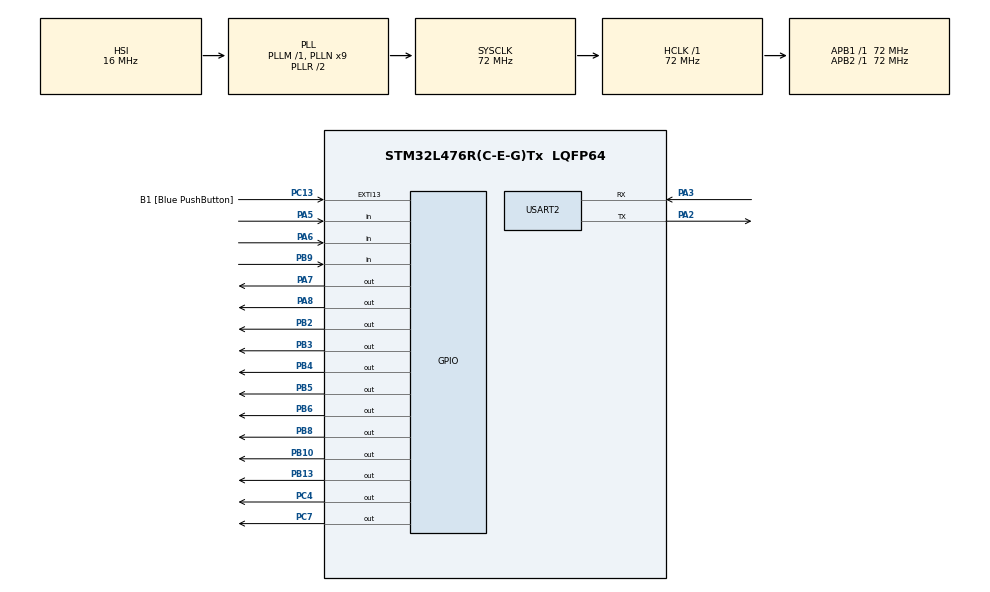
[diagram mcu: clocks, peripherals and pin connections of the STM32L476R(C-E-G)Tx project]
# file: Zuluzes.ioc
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FREERTOS.Tasks01=defaultTask,0,128,StartDefaultTask,Default,NULL,Dynamic,NULL,NULL
FREERTOS.configTOTAL_HEAP_SIZE=16384
FREERTOS.configUSE_NEWLIB_REENTRANT=1
Mcu.Family=STM32L4
Mcu.Name=STM32L476R(C-E-G)Tx
Mcu.Package=LQFP64
NVIC.PriorityGroup=NVIC_PRIORITYGROUP_4
NVIC.TIM1_UP_TIM16_IRQn=true\:15\:0\:false\:false\:true\:false\:false\:true\:true
NVIC.TimeBase=TIM1_UP_TIM16_IRQn
NVIC.TimeBaseIP=TIM1
PA13\ (JTMS-SWDIO).GPIO_Label=TMS
PA13\ (JTMS-SWDIO).Mode=Serial_Wire
PA13\ (JTMS-SWDIO).Signal=SYS_JTMS-SWDIO
PA14\ (JTCK-SWCLK).GPIO_Label=TCK
PA14\ (JTCK-SWCLK).Mode=Serial_Wire
PA14\ (JTCK-SWCLK).Signal=SYS_JTCK-SWCLK
PA2.Mode=Asynchronous
PA2.Signal=USART2_TX
PA3.Mode=Asynchronous
PA3.Signal=USART2_RX
PA5.GPIO_PuPd=GPIO_PULLUP
PA5.Signal=GPIO_Input
PA6.GPIO_PuPd=GPIO_PULLUP
PA6.Signal=GPIO_Input
PA7.Signal=GPIO_Output
PA8.Signal=GPIO_Output
PB10.Signal=GPIO_Output
PB13.Signal=GPIO_Output
PB2.Signal=GPIO_Output
PB3\ (JTDO-TRACESWO).Signal=GPIO_Output
PB4\ (NJTRST).Signal=GPIO_Output
PB5.Signal=GPIO_Output
PB6.Signal=GPIO_Output
PB8.Signal=GPIO_Output
PB9.Signal=GPIO_Input
PC13.GPIO_Label=B1 [Blue PushButton]
PC13.GPIO_ModeDefaultEXTI=GPIO_MODE_IT_FALLING
PC13.GPIO_PuPd=GPIO_NOPULL
PC13.Signal=GPXTI13
PC14-OSC32_IN\ (PC14).Mode=LSE-External-Oscillator
PC14-OSC32_IN\ (PC14).Signal=RCC_OSC32_IN
PC15-OSC32_OUT\ (PC15).Mode=LSE-External-Oscillator
PC15-OSC32_OUT\ (PC15).Signal=RCC_OSC32_OUT
PC4.Signal=GPIO_Output
PC7.Signal=GPIO_Output
PH0-OSC_IN\ (PH0).Signal=RCC_OSC_IN
PH1-OSC_OUT\ (PH1).Signal=RCC_OSC_OUT
ProjectManager.HeapSize=0x200
ProjectManager.StackSize=0x400
ProjectManager.TargetToolchain=STM32CubeIDE
RCC.ADCFreq_Value=64000000
RCC.AHBFreq_Value=72000000
RCC.APB1Freq_Value=72000000
RCC.APB1TimFreq_Value=72000000
RCC.APB2Freq_Value=72000000
RCC.APB2TimFreq_Value=72000000
RCC.CortexFreq_Value=72000000
RCC.HCLKFreq_Value=72000000
RCC.HSE_VALUE=8000000
RCC.HSI_VALUE=16000000
RCC.MSI_VALUE=4000000
RCC.PLLN=9
RCC.PLLSourceVirtual=RCC_PLLSOURCE_HSI
RCC.PREFETCH_ENABLE=1
RCC.SYSCLKFreq_VALUE=72000000
RCC.SYSCLKSource=RCC_SYSCLKSOURCE_PLLCLK
RCC.USBFreq_Value=64000000
RCC.VCOOutputFreq_Value=144000000
TIM2.Prescaler=72-1
USART2.VirtualMode-Asynchronous=VM_ASYNC
VP_FREERTOS_VS_CMSIS_V1.Mode=CMSIS_V1
VP_SYS_VS_tim1.Mode=TIM1
VP_TIM2_VS_ClockSourceINT.Mode=Internal
board=NUCLEO-L476RG

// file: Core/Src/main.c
/* USER CODE BEGIN Header */
/**
  ******************************************************************************
  * @file           : main.c
  * @brief          : Main program body
  ******************************************************************************
  * @attention
  *
  * Copyright (c) 2024 STMicroelectronics.
  * All rights reserved.
  *
  * This software is licensed under terms that can be found in the LICENSE file
  * in the root directory of this software component.
  * If no LICENSE file comes with this software, it is provided AS-IS.
  *
  ******************************************************************************
  */
/* USER CODE END Header */
#include "main.h"
#include "cmsis_os.h"

/* USER CODE BEGIN Includes */
#include <string.h>
#include <stdlib.h>
#include <stdio.h>
/* USER CODE END Includes */

/* USER CODE BEGIN PD */
// D15
#define TRIG_PIN GPIO_PIN_8
#define TRIG_PORT GPIOB

// D14
#define ECHO_PIN GPIO_PIN_9
#define ECHO_PORT GPIOB

// D13
#define BUTTON_1_PIN GPIO_PIN_5
#define BUTTON_1_PORT GPIOA

// D12
#define BUTTON_2_PIN GPIO_PIN_6
#define BUTTON_2_PORT GPIOA

// D11
#define BUZZER_PIN GPIO_PIN_7
#define BUZZER_PORT GPIOA

// 10 SEGMENT DISPLAY
// D10
#define SEGMENT_1_PIN GPIO_PIN_6
#define SEGMENT_1_PORT GPIOB

// D9
#define SEGMENT_2_PIN GPIO_PIN_7
#define SEGMENT_2_PORT GPIOC

// CN10 21
#define SEGMENT_3_PIN GPIO_PIN_2
#define SEGMENT_3_PORT GPIOB

// D7
#define SEGMENT_4_PIN GPIO_PIN_8
#define SEGMENT_4_PORT GPIOA

// D6
#define SEGMENT_5_PIN GPIO_PIN_10
#define SEGMENT_5_PORT GPIOB

// D5
#define SEGMENT_6_PIN GPIO_PIN_4
#define SEGMENT_6_PORT GPIOB

// D4
#define SEGMENT_7_PIN GPIO_PIN_5
#define SEGMENT_7_PORT GPIOB

// D3
#define SEGMENT_8_PIN GPIO_PIN_3
#define SEGMENT_8_PORT GPIOB

// CN10 34
#define SEGMENT_9_PIN GPIO_PIN_13
#define SEGMENT_9_PORT GPIOB

// CN10 30
#define SEGMENT_10_PIN GPIO_PIN_4
#define SEGMENT_10_PORT GPIOC

#define PUSHUP_DOWN_DISTANCE_CM 10
#define PUSHUP_UP_DISTANCE_CM 30
/* USER CODE END PD */

TIM_HandleTypeDef htim2;

UART_HandleTypeDef huart2;

osThreadId defaultTaskHandle;
/* USER CODE BEGIN PV */
TaskHandle_t PushupCounterTaskHandle;
TaskHandle_t AreButtonsPressedTaskHandle;
TaskHandle_t LedCounterTaskHandle;

char buttonBuffer[50];
char ultraBuffer[50];

uint32_t PUSHUP_TARGET= 10;

uint32_t pushupCounter = 0;
uint8_t isButtonsPressed = 0;

GPIO_TypeDef* SEGMENT_PORTS[10] = {
	SEGMENT_1_PORT,
	SEGMENT_2_PORT,
	SEGMENT_3_PORT,
	SEGMENT_4_PORT,
	SEGMENT_5_PORT,
	SEGMENT_6_PORT,
	SEGMENT_7_PORT,
	SEGMENT_8_PORT,
	SEGMENT_9_PORT,
	SEGMENT_10_PORT
};

uint16_t SEGMENT_PINS[10] = {
	SEGMENT_1_PIN,
	SEGMENT_2_PIN,
	SEGMENT_3_PIN,
	SEGMENT_4_PIN,
	SEGMENT_5_PIN,
	SEGMENT_6_PIN,
	SEGMENT_7_PIN,
	SEGMENT_8_PIN,
	SEGMENT_9_PIN,
	SEGMENT_10_PIN
};
/* USER CODE END PV */

void SystemClock_Config(void);
static void MX_GPIO_Init(void);
static void MX_TIM2_Init(void);
static void MX_USART2_UART_Init(void);
void StartDefaultTask(void const * argument);

/* USER CODE BEGIN PFP */
void setPushupTarget(void);
void AreButtonsPressedTask(void *argument);
void PushupCounterTask(void *argument);
void Trigger_Ultrasonic(void);
uint32_t Get_Distance(void);
void handleWin(void);
void playSound(uint32_t frequency, uint32_t duration_ms);
void reset(void);
void LedCounterTask(void *argument);
void CheckForExitTask(void *argument);
/* USER CODE END PFP */

int main(void)
{

  /* MCU Configuration--------------------------------------------------------*/

  /* Reset of all peripherals, Initializes the Flash interface and the Systick. */
  HAL_Init();

  /* Configure the system clock */
  SystemClock_Config();

  /* Initialize all configured peripherals */
  MX_GPIO_Init();
  MX_TIM2_Init();
  MX_USART2_UART_Init();
  /* USER CODE BEGIN 2 */

  setPushupTarget();

  /* USER CODE END 2 */

  /* USER CODE BEGIN RTOS_TIMERS */
  /* start timers, add new ones, ... */
  HAL_TIM_Base_Start(&htim2);
  /* USER CODE END RTOS_TIMERS */

  /* Create the thread(s) */
  /* definition and creation of defaultTask */
  osThreadDef(defaultTask, StartDefaultTask, osPriorityNormal, 0, 128);
  defaultTaskHandle = osThreadCreate(osThread(defaultTask), NULL);

  /* USER CODE BEGIN RTOS_THREADS */
  /* add threads, ... */

  xTaskCreate(
  PushupCounterTask,
  "PushupCounterTask",
  configMINIMAL_STACK_SIZE,
  NULL,
  1,
  &PushupCounterTaskHandle);

  xTaskCreate(AreButtonsPressedTask,
  "AreButtonsPressedTask",
  configMINIMAL_STACK_SIZE,
  NULL,
  tskIDLE_PRIORITY,
  &AreButtonsPressedTaskHandle);

  xTaskCreate(LedCounterTask,
  "LedCounterTask",
  configMINIMAL_STACK_SIZE,
  NULL,
  tskIDLE_PRIORITY,
  &LedCounterTaskHandle);

  xTaskCreate(CheckForExitTask,
  "CheckForExitTask",
  configMINIMAL_STACK_SIZE,
  NULL,
  tskIDLE_PRIORITY,
  NULL);

  /* USER CODE END RTOS_THREADS */

  /* Start scheduler */
  osKernelStart();

  /* We should never get here as control is now taken by the scheduler */

  /* Infinite loop */
  while (1)
  {

  }
}

void SystemClock_Config(void)
{
  RCC_OscInitTypeDef RCC_OscInitStruct = {0};
  RCC_ClkInitTypeDef RCC_ClkInitStruct = {0};

  /** Configure the main internal regulator output voltage
  */
  if (HAL_PWREx_ControlVoltageScaling(PWR_REGULATOR_VOLTAGE_SCALE1) != HAL_OK)
  {
    Error_Handler();
  }

  /** Initializes the RCC Oscillators according to the specified parameters
  * in the RCC_OscInitTypeDef structure.
  */
  RCC_OscInitStruct.OscillatorType = RCC_OSCILLATORTYPE_HSI;
  RCC_OscInitStruct.HSIState = RCC_HSI_ON;
  RCC_OscInitStruct.HSICalibrationValue = RCC_HSICALIBRATION_DEFAULT;
  RCC_OscInitStruct.PLL.PLLState = RCC_PLL_ON;
  RCC_OscInitStruct.PLL.PLLSource = RCC_PLLSOURCE_HSI;
  RCC_OscInitStruct.PLL.PLLM = 1;
  RCC_OscInitStruct.PLL.PLLN = 9;
  RCC_OscInitStruct.PLL.PLLP = RCC_PLLP_DIV7;
  RCC_OscInitStruct.PLL.PLLQ = RCC_PLLQ_DIV2;
  RCC_OscInitStruct.PLL.PLLR = RCC_PLLR_DIV2;
  if (HAL_RCC_OscConfig(&RCC_OscInitStruct) != HAL_OK)
  {
    Error_Handler();
  }

  /** Initializes the CPU, AHB and APB buses clocks
  */
  RCC_ClkInitStruct.ClockType = RCC_CLOCKTYPE_HCLK|RCC_CLOCKTYPE_SYSCLK
                              |RCC_CLOCKTYPE_PCLK1|RCC_CLOCKTYPE_PCLK2;
  RCC_ClkInitStruct.SYSCLKSource = RCC_SYSCLKSOURCE_PLLCLK;
  RCC_ClkInitStruct.AHBCLKDivider = RCC_SYSCLK_DIV1;
  RCC_ClkInitStruct.APB1CLKDivider = RCC_HCLK_DIV1;
  RCC_ClkInitStruct.APB2CLKDivider = RCC_HCLK_DIV1;

  if (HAL_RCC_ClockConfig(&RCC_ClkInitStruct, FLASH_LATENCY_4) != HAL_OK)
  {
    Error_Handler();
  }
}

static void MX_TIM2_Init(void)
{

  TIM_ClockConfigTypeDef sClockSourceConfig = {0};
  TIM_MasterConfigTypeDef sMasterConfig = {0};

  htim2.Instance = TIM2;
  htim2.Init.Prescaler = 72-1;
  htim2.Init.CounterMode = TIM_COUNTERMODE_UP;
  htim2.Init.Period = 4294967295;
  htim2.Init.ClockDivision = TIM_CLOCKDIVISION_DIV1;
  htim2.Init.AutoReloadPreload = TIM_AUTORELOAD_PRELOAD_DISABLE;
  if (HAL_TIM_Base_Init(&htim2) != HAL_OK)
  {
    Error_Handler();
  }
  sClockSourceConfig.ClockSource = TIM_CLOCKSOURCE_INTERNAL;
  if (HAL_TIM_ConfigClockSource(&htim2, &sClockSourceConfig) != HAL_OK)
  {
    Error_Handler();
  }
  sMasterConfig.MasterOutputTrigger = TIM_TRGO_RESET;
  sMasterConfig.MasterSlaveMode = TIM_MASTERSLAVEMODE_DISABLE;
  if (HAL_TIMEx_MasterConfigSynchronization(&htim2, &sMasterConfig) != HAL_OK)
  {
    Error_Handler();
  }

}

static void MX_USART2_UART_Init(void)
{

  huart2.Instance = USART2;
  huart2.Init.BaudRate = 115200;
  huart2.Init.WordLength = UART_WORDLENGTH_8B;
  huart2.Init.StopBits = UART_STOPBITS_1;
  huart2.Init.Parity = UART_PARITY_NONE;
  huart2.Init.Mode = UART_MODE_TX_RX;
  huart2.Init.HwFlowCtl = UART_HWCONTROL_NONE;
  huart2.Init.OverSampling = UART_OVERSAMPLING_16;
  huart2.Init.OneBitSampling = UART_ONE_BIT_SAMPLE_DISABLE;
  huart2.AdvancedInit.AdvFeatureInit = UART_ADVFEATURE_NO_INIT;
  if (HAL_UART_Init(&huart2) != HAL_OK)
  {
    Error_Handler();
  }

}

static void MX_GPIO_Init(void)
{
  GPIO_InitTypeDef GPIO_InitStruct = {0};

  /* GPIO Ports Clock Enable */
  __HAL_RCC_GPIOC_CLK_ENABLE();
  __HAL_RCC_GPIOH_CLK_ENABLE();
  __HAL_RCC_GPIOA_CLK_ENABLE();
  __HAL_RCC_GPIOB_CLK_ENABLE();

  /*Configure GPIO pin Output Level */
  HAL_GPIO_WritePin(GPIOA, GPIO_PIN_7|GPIO_PIN_8, GPIO_PIN_RESET);

  /*Configure GPIO pin Output Level */
  HAL_GPIO_WritePin(GPIOC, GPIO_PIN_4|GPIO_PIN_7, GPIO_PIN_RESET);

  /*Configure GPIO pin Output Level */
  HAL_GPIO_WritePin(GPIOB, GPIO_PIN_2|GPIO_PIN_10|GPIO_PIN_13|GPIO_PIN_3
                          |GPIO_PIN_4|GPIO_PIN_5|GPIO_PIN_6|GPIO_PIN_8, GPIO_PIN_RESET);

  /*Configure GPIO pin : B1_Pin */
  GPIO_InitStruct.Pin = B1_Pin;
  GPIO_InitStruct.Mode = GPIO_MODE_IT_FALLING;
  GPIO_InitStruct.Pull = GPIO_NOPULL;
  HAL_GPIO_Init(B1_GPIO_Port, &GPIO_InitStruct);

  /*Configure GPIO pins : PA5 PA6 */
  GPIO_InitStruct.Pin = GPIO_PIN_5|GPIO_PIN_6;
  GPIO_InitStruct.Mode = GPIO_MODE_INPUT;
  GPIO_InitStruct.Pull = GPIO_PULLUP;
  HAL_GPIO_Init(GPIOA, &GPIO_InitStruct);

  /*Configure GPIO pins : PA7 PA8 */
  GPIO_InitStruct.Pin = GPIO_PIN_7|GPIO_PIN_8;
  GPIO_InitStruct.Mode = GPIO_MODE_OUTPUT_PP;
  GPIO_InitStruct.Pull = GPIO_NOPULL;
  GPIO_InitStruct.Speed = GPIO_SPEED_FREQ_LOW;
  HAL_GPIO_Init(GPIOA, &GPIO_InitStruct);

  /*Configure GPIO pins : PC4 PC7 */
  GPIO_InitStruct.Pin = GPIO_PIN_4|GPIO_PIN_7;
  GPIO_InitStruct.Mode = GPIO_MODE_OUTPUT_PP;
  GPIO_InitStruct.Pull = GPIO_NOPULL;
  GPIO_InitStruct.Speed = GPIO_SPEED_FREQ_LOW;
  HAL_GPIO_Init(GPIOC, &GPIO_InitStruct);

  /*Configure GPIO pins : PB2 PB10 PB13 PB3
                           PB4 PB5 PB6 PB8 */
  GPIO_InitStruct.Pin = GPIO_PIN_2|GPIO_PIN_10|GPIO_PIN_13|GPIO_PIN_3
                          |GPIO_PIN_4|GPIO_PIN_5|GPIO_PIN_6|GPIO_PIN_8;
  GPIO_InitStruct.Mode = GPIO_MODE_OUTPUT_PP;
  GPIO_InitStruct.Pull = GPIO_NOPULL;
  GPIO_InitStruct.Speed = GPIO_SPEED_FREQ_LOW;
  HAL_GPIO_Init(GPIOB, &GPIO_InitStruct);

  /*Configure GPIO pin : PB9 */
  GPIO_InitStruct.Pin = GPIO_PIN_9;
  GPIO_InitStruct.Mode = GPIO_MODE_INPUT;
  GPIO_InitStruct.Pull = GPIO_NOPULL;
  HAL_GPIO_Init(GPIOB, &GPIO_InitStruct);

/* USER CODE BEGIN MX_GPIO_Init_2 */
  /*
   * ON IOC CHANGE, UPDATE THE PA8 AND PA9 PINS TO GPIO_PULLUP
   */
/* USER CODE END MX_GPIO_Init_2 */
}

/* USER CODE BEGIN 4 */

void setPushupTarget(void) {
    char targetBuffer[10] = {0};
    char ch;
    int i = 0;

    HAL_UART_Transmit(&huart2, (uint8_t *)"\033[2J\033[H", 7, HAL_MAX_DELAY);
    HAL_UART_Transmit(&huart2, (uint8_t *)"Enter pushup target: ", 21, HAL_MAX_DELAY);

    while (i < sizeof(targetBuffer) - 1) {
        HAL_UART_Receive(&huart2, (uint8_t *)&ch, 1, HAL_MAX_DELAY);

        if (ch == '\r') {
            break;
        }

        HAL_UART_Transmit(&huart2, (uint8_t *)&ch, 1, HAL_MAX_DELAY);
        targetBuffer[i++] = ch;
    }

    targetBuffer[i] = '\0';
    PUSHUP_TARGET = atoi(targetBuffer);

    sprintf(ultraBuffer, "\r\nTarget Set: %lu\r\n", PUSHUP_TARGET);
    HAL_UART_Transmit(&huart2, (uint8_t*)ultraBuffer, strlen(ultraBuffer), HAL_MAX_DELAY);
}

void AreButtonsPressedTask(void *argument){

	for(;;){
		if(HAL_GPIO_ReadPin(BUTTON_1_PORT, BUTTON_1_PIN) == GPIO_PIN_RESET  && HAL_GPIO_ReadPin(BUTTON_2_PORT, BUTTON_2_PIN) == GPIO_PIN_RESET){
			isButtonsPressed = 1;
		} else {
			isButtonsPressed = 0;
		}
	}
}

void PushupCounterTask(void *argument)
{
	uint8_t downOk = 0;
	for(;;)
    {

        Trigger_Ultrasonic();

        uint32_t distance = Get_Distance();
        if(isButtonsPressed){
        	if(pushupCounter < PUSHUP_TARGET){
        		if(distance <= PUSHUP_DOWN_DISTANCE_CM && !downOk ){
        			downOk = 1;
        		}
        		else if(distance >= PUSHUP_UP_DISTANCE_CM && downOk){
        			pushupCounter++;
        			downOk = 0;
        		}
        	} else {
        		handleWin();
        		osDelay(500);
        		reset();
        	}
        } else {
        	reset();
        }

        sprintf(ultraBuffer, "Counter: %lu Distance: %lu\r\n", pushupCounter, distance);
		HAL_UART_Transmit(&huart2, (uint8_t*)ultraBuffer, strlen(ultraBuffer), HAL_MAX_DELAY);
        osDelay(500);
    }
}

void Trigger_Ultrasonic(void)
{
    HAL_GPIO_WritePin(TRIG_PORT, TRIG_PIN, GPIO_PIN_SET);
    osDelay(1);
    HAL_GPIO_WritePin(TRIG_PORT, TRIG_PIN, GPIO_PIN_RESET);
}

uint32_t Get_Distance(void)
{
	uint32_t echoStart = 0;
	uint32_t echoEnd = 0;
	uint32_t echoDuration = 0;

    while (HAL_GPIO_ReadPin(ECHO_PORT, ECHO_PIN) == GPIO_PIN_RESET);

    echoStart = __HAL_TIM_GET_COUNTER(&htim2);

    while (HAL_GPIO_ReadPin(ECHO_PORT, ECHO_PIN) == GPIO_PIN_SET);

    echoEnd = __HAL_TIM_GET_COUNTER(&htim2);

    echoDuration = echoEnd - echoStart;

    uint32_t distance = (echoDuration * 0.0343) / 2;

    return distance;
}

void reset(void){
	pushupCounter = 0;
	for(int i = 0 ; i < PUSHUP_TARGET ; i ++){
		HAL_GPIO_WritePin(SEGMENT_PORTS[i], SEGMENT_PINS[i], GPIO_PIN_RESET);
	}
}

void handleWin(void){
//	sprintf(ultraBuffer, "WIN WIN WIN\r\n");
//	HAL_UART_Transmit(&huart4, (uint8_t*)ultraBuffer, strlen(ultraBuffer), HAL_MAX_DELAY);

	// caza
	playSound(300, 200);
	osDelay(20);

	playSound(300, 200);
	osDelay(20);

	osDelay(220);

	// caza
	playSound(300, 200);
	osDelay(20);

	playSound(300, 200);
	osDelay(20);

	osDelay(220);

	// caza caza caza
	playSound(300, 200);
	osDelay(20);

	playSound(300, 200);
	osDelay(20);

	playSound(300, 200);
	osDelay(20);

	playSound(300, 200);
	osDelay(20);

	playSound(300, 200);
	osDelay(20);

	playSound(300, 200);
	osDelay(20);

	playSound(300, 200);
	osDelay(20);

	osDelay(220);

	// a turma é mesmo boa
	playSound(300, 200);
	osDelay(20);

	playSound(300, 200);
	osDelay(20);

	playSound(300, 200);
	osDelay(20);

	playSound(300, 200);
	osDelay(20);

	playSound(300, 200);
	osDelay(20);

	playSound(300, 200);
	osDelay(20);

	playSound(300, 200);
	osDelay(20);

	osDelay(220);

	// é mesmo da fuzaca
	playSound(300, 200);
	osDelay(20);

	playSound(300, 200);
	osDelay(20);

	playSound(300, 200);
	osDelay(20);

	playSound(300, 200);
	osDelay(20);

	playSound(300, 200);
	osDelay(20);

	playSound(300, 200);
	osDelay(20);

	playSound(300, 200);
	osDelay(20);

	osDelay(220);

	// sport
	playSound(300, 200);
	osDelay(20);

	playSound(300, 200);
	osDelay(20);

	osDelay(220);

	// sport
	playSound(300, 200);
	osDelay(20);

	playSound(300, 200);
	osDelay(20);

	osDelay(220);

	// sport
	playSound(300, 200);
	osDelay(20);

	playSound(300, 200);
	osDelay(20);
}

void playSound(uint32_t frequency, uint32_t duration_ms){
	uint32_t period_us = 1000000 / frequency;
	uint32_t half_period_us = period_us / 2;

	uint32_t startTick = HAL_GetTick();

	while ((HAL_GetTick() - startTick) < duration_ms)
	{
		HAL_GPIO_WritePin(BUZZER_PORT, BUZZER_PIN, GPIO_PIN_SET);
		osDelay(half_period_us / 1000);

		HAL_GPIO_WritePin(BUZZER_PORT, BUZZER_PIN, GPIO_PIN_RESET);
		osDelay(half_period_us / 1000);
	}
}

void LedCounterTask(void *argument){

	for(;;){
		int32_t TOTAL_LEDS = 10;
		int32_t ledCount = pushupCounter % TOTAL_LEDS;

		for (int i = 0; i < TOTAL_LEDS; i++) {
			HAL_GPIO_WritePin(SEGMENT_PORTS[i], SEGMENT_PINS[i], ledCount > i);
		}

		osDelay(300);
	}
}

void CheckForExitTask(void *argument) {
    char ch;
    for (;;) {
        HAL_UART_Receive(&huart2, (uint8_t *)&ch, 1, HAL_MAX_DELAY);
        if (ch == 'J' || ch == 'j') {
        	vTaskSuspend(PushupCounterTaskHandle);
			vTaskSuspend(AreButtonsPressedTaskHandle);
			vTaskSuspend(LedCounterTaskHandle);

            HAL_UART_Transmit(&huart2, (uint8_t *)"\r\nResetting...\r\n", 17, HAL_MAX_DELAY);
            reset();
            setPushupTarget();

            vTaskResume(PushupCounterTaskHandle);
            vTaskResume(AreButtonsPressedTaskHandle);
            vTaskResume(LedCounterTaskHandle);
        }
        osDelay(100);
    }
}

/* USER CODE END 4 */

void StartDefaultTask(void const * argument)
{
  for(;;)
  {
    osDelay(1);
  }
}

void HAL_TIM_PeriodElapsedCallback(TIM_HandleTypeDef *htim)
{
  if (htim->Instance == TIM1) {
    HAL_IncTick();
  }
}

void Error_Handler(void)
{
  __disable_irq();
  while (1)
  {
  }
}
